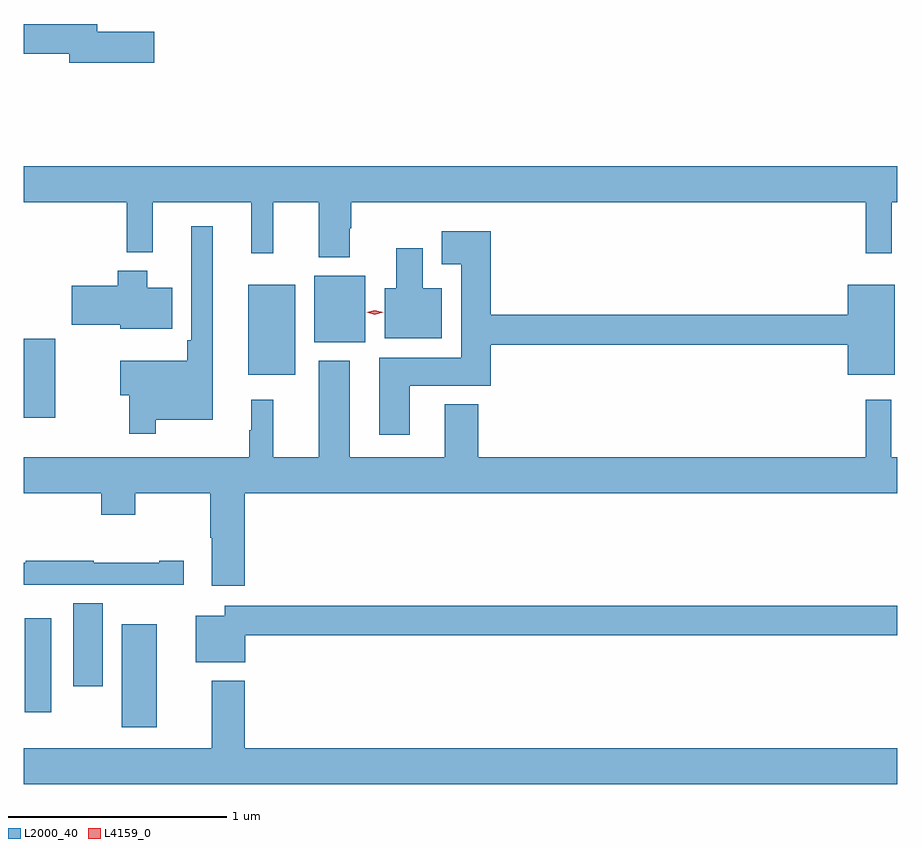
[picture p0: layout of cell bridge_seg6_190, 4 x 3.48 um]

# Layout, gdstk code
import gdstk
lib = gdstk.Library(unit=1e-6, precision=1e-09)
def R(c, l, rs):  # rectangles x0, y0, x1, y1
    for r in rs: c.add(gdstk.rectangle(r[:2], r[2:], *l))
def P(c, l, *ps):  # polygons
    for p in ps: c.add(gdstk.Polygon(p, *l))
L2000_40 = (2000, 40)
L4159_0 = (4159, 0)

bridge_seg6_190 = lib.new_cell('bridge_seg6_190')
R(bridge_seg6_190, L2000_40, [(250.832,942.267,250.993,942.739), (250.388,942.336,250.51,942.766), (250.61,942.456,250.744,942.836), (250.383,943.686,250.528,944.047), (251.411,943.883,251.626,944.293), (251.714,944.03,251.947,944.335)])
P(bridge_seg6_190, L2000_40, [(250.981,945.452),(250.72,945.452),(250.72,945.488),(250.383,945.488),(250.383,945.352),(250.592,945.352),(250.592,945.31),(250.981,945.31)],
  [(251.875,944.552),(251.883,944.552),(251.883,944.672),(254.239,944.672),(254.239,944.439),(254.357,944.439),(254.357,944.672),(254.383,944.672),(254.383,944.836),(250.383,944.836),(250.383,944.672),(250.855,944.672),(250.855,944.444),(250.973,944.444),(250.973,944.672),(251.426,944.672),(251.426,944.439),(251.525,944.439),(251.525,944.672),(251.735,944.672),(251.735,944.42),(251.875,944.42)],
  [(250.987,943.676),(251.248,943.676),(251.248,944.563),(251.151,944.563),(251.151,944.041),(251.131,944.041),(251.131,943.945),(250.824,943.945),(250.824,943.787),(250.866,943.787),(250.866,943.611),(250.987,943.611)],
  [(252.151,943.832),(252.521,943.832),(252.521,944.02),(254.156,944.02),(254.156,943.883),(254.371,943.883),(254.371,944.293),(254.156,944.293),(254.156,944.156),(252.521,944.156),(252.521,944.539),(252.296,944.539),(252.296,944.387),(252.386,944.387),(252.386,943.96),(252.011,943.96),(252.011,943.608),(252.151,943.608)],
  [(252.298,944.278),(252.211,944.278),(252.211,944.461),(252.089,944.461),(252.089,944.278),(252.035,944.278),(252.035,944.048),(252.298,944.048)],
  [(251.062,944.281),(250.948,944.281),(250.948,944.359),(250.814,944.359),(250.814,944.289),(250.602,944.289),(250.602,944.111),(250.826,944.111),(250.826,944.093),(251.062,944.093)],
  [(251.396,943.34),(254.383,943.34),(254.383,943.504),(254.356,943.504),(254.356,943.768),(254.239,943.768),(254.239,943.504),(252.464,943.504),(252.464,943.747),(252.311,943.747),(252.311,943.504),(251.875,943.504),(251.875,943.945),(251.735,943.945),(251.735,943.504),(251.525,943.504),(251.525,943.768),(251.426,943.768),(251.426,943.628),(251.415,943.628),(251.415,943.504),(250.383,943.504),(250.383,943.34),(250.738,943.34),(250.738,943.241),(250.893,943.241),(250.893,943.34),(251.236,943.34),(251.236,943.136),(251.243,943.136),(251.243,942.915),(251.396,942.915)],
  [(250.506,942.921),(250.84,942.921),(250.84,942.92),(251.116,942.92),(251.116,943.03),(251.003,943.03),(251.003,943.02),(250.703,943.02),(250.703,943.03),(250.393,943.03),(250.393,943.02),(250.383,943.02),(250.383,942.92),(250.506,942.92)],
  [(251.398,942.688),(254.383,942.688),(254.383,942.824),(251.304,942.824),(251.304,942.778),(251.171,942.778),(251.171,942.566),(251.398,942.566)],
  [(254.383,942.172),(251.396,942.172),(251.396,942.481),(251.243,942.481),(251.243,942.172),(250.383,942.172),(250.383,942.008),(254.383,942.008)])
P(bridge_seg6_190, L4159_0, [(251.991,944.157),(251.953,944.167),(251.952,944.167),(251.953,944.167),(251.991,944.177),(252.029,944.167),(252.03,944.167),(252.029,944.167)])

lib.write_gds('bridge_seg6_190.gds')
